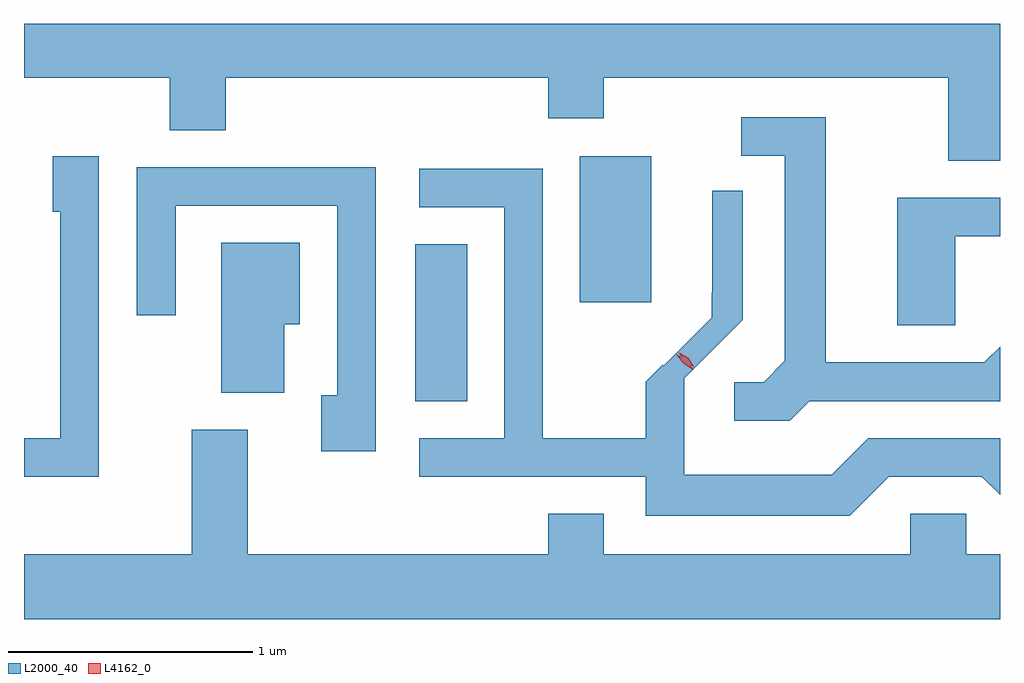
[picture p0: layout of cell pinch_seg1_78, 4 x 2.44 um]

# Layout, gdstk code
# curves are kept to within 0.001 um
import gdstk
lib = gdstk.Library(unit=1e-6, precision=1e-09)
def R(c, l, rs):  # rectangles x0, y0, x1, y1
    for r in rs: c.add(gdstk.rectangle(r[:2], r[2:], *l))
def P(c, l, *ps):  # polygons
    for p in ps: c.add(gdstk.Polygon(p, *l))
L2000_40 = (2000, 40)
L4162_0 = (4162, 0)

pinch_seg1_78 = lib.new_cell('pinch_seg1_78')
R(pinch_seg1_78, L2000_40, [(224.546,893.811,224.759,894.454), (225.221,894.216,225.514,894.814)])
P(pinch_seg1_78, L2000_40, [(226.943,895.358),(222.943,895.358),(222.943,895.136),(223.541,895.136),(223.541,894.921),(223.769,894.921),(223.769,895.136),(225.091,895.136),(225.091,894.971),(225.319,894.971),(225.319,895.136),(226.731,895.136),(226.731,894.796),(226.943,894.796)],
  [(226.162,893.811),(226.943,893.811),(226.943,894.034),(226.879,893.969),(226.229,893.969),(226.229,894.974),(225.883,894.974),(225.883,894.816),(226.061,894.816),(226.061,893.977),(225.974,893.889),(225.853,893.889),(225.853,893.731),(226.082,893.731)],
  [(223.249,894.814),(223.061,894.814),(223.061,894.586),(223.091,894.586),(223.091,893.659),(222.943,893.659),(222.943,893.501),(223.249,893.501)],
  [(224.384,894.769),(223.406,894.769),(223.406,894.163),(223.564,894.163),(223.564,894.611),(224.226,894.611),(224.226,893.834),(224.161,893.834),(224.161,893.606),(224.384,893.606)],
  [(226.487,893.501),(226.869,893.501),(226.943,893.427),(226.942,893.659),(226.404,893.659),(226.254,893.509),(225.649,893.509),(225.648,893.904),(225.889,894.145),(225.889,894.673),(225.763,894.673),(225.763,894.254),(225.761,894.254),(225.761,894.152),(225.564,893.955),(225.56,893.959),(225.491,893.89),(225.491,893.659),(225.069,893.659),(225.069,894.764),(224.563,894.764),(224.563,894.606),(224.911,894.606),(224.911,893.659),(224.563,893.659),(224.563,893.501),(225.491,893.501),(225.491,893.341),(226.327,893.341)],
  [(226.759,894.486),(226.943,894.486),(226.943,894.644),(226.521,894.644),(226.521,894.121),(226.759,894.121)],
  [(224.009,894.126),(224.074,894.126),(224.074,894.459),(223.751,894.459),(223.751,893.846),(224.009,893.846)],
  [(226.943,893.184),(226.804,893.184),(226.804,893.349),(226.576,893.349),(226.576,893.184),(225.319,893.184),(225.319,893.349),(225.091,893.349),(225.091,893.184),(223.859,893.184),(223.859,893.694),(223.631,893.694),(223.631,893.184),(222.943,893.184),(222.943,892.916),(226.943,892.916)])
P(pinch_seg1_78, L4162_0, [(225.687,893.952),(225.651,893.973),(225.628,894.007),(225.628,894.008),(225.628,894.008),(225.665,893.988),(225.688,893.953),(225.688,893.952)],
  [(225.684,893.94),(225.644,893.965),(225.616,894.003),(225.616,894.003),(225.617,894.003),(225.657,893.979),(225.685,893.941),(225.685,893.94)])

lib.write_gds('pinch_seg1_78.gds')
